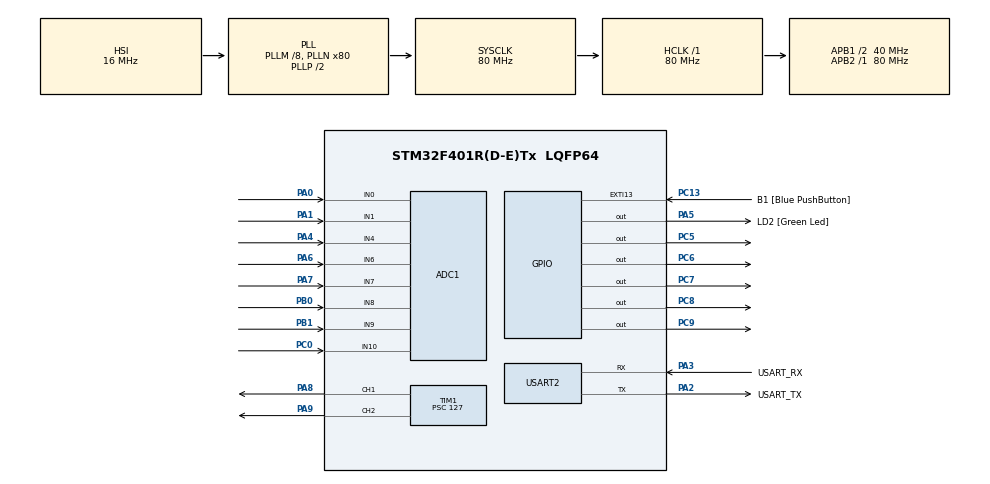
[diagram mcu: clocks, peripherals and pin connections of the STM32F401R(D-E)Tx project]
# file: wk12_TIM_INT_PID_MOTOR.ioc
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Mcu.Family=STM32F4
PA2.GPIO_PuPd=GPIO_NOPULL
RCC.CortexFreq_Value=80000000
ADC1.ContinuousConvMode=ENABLE
ADC1.SamplingTime-6\#ChannelRegularConversion=ADC_SAMPLETIME_3CYCLES
PA14.GPIO_Label=TCK
PA3.GPIO_PuPd=GPIO_NOPULL
PA2.GPIO_Speed=GPIO_SPEED_FREQ_LOW
PA3.GPIO_Speed=GPIO_SPEED_FREQ_LOW
RCC.SYSCLKSource=RCC_SYSCLKSOURCE_PLLCLK
ProjectManager.StackSize=0x400
TIM1.Prescaler=127
PH0\ -\ OSC_IN.Signal=RCC_OSC_IN
ADC1.Channel-5\#ChannelRegularConversion=ADC_CHANNEL_8
ADC1.Channel-3\#ChannelRegularConversion=ADC_CHANNEL_6
RCC.HCLKFreq_Value=80000000
RCC.APB2TimFreq_Value=80000000
Dma.ADC1.0.Direction=DMA_PERIPH_TO_MEMORY
ADC1.Channel-2\#ChannelRegularConversion=ADC_CHANNEL_4
PC7.Signal=GPIO_Output
NVIC.DMA2_Stream0_IRQn=true\:0\:0\:false\:false\:true\:false\:true
Dma.ADC1.0.MemDataAlignment=DMA_MDATAALIGN_HALFWORD
RCC.AHBFreq_Value=80000000
ADC1.Channel-0\#ChannelRegularConversion=ADC_CHANNEL_0
RCC.HSE_VALUE=8000000
ADC1.ScanConvMode=ENABLE
PC13-ANTI_TAMP.Signal=GPXTI13
ADC1.SamplingTime-4\#ChannelRegularConversion=ADC_SAMPLETIME_3CYCLES
ADC1.Channel-6\#ChannelRegularConversion=ADC_CHANNEL_9
ADC1.Rank-2\#ChannelRegularConversion=3
PC14-OSC32_IN.Mode=LSE-External-Oscillator
TIM1.Channel-PWM\ Generation1\ CH1=TIM_CHANNEL_1
PA14.Mode=Serial_Wire
PA5.GPIO_PuPd=GPIO_NOPULL
Dma.ADC1.0.PeriphInc=DMA_PINC_DISABLE
NVIC.TIM2_IRQn=true\:0\:0\:false\:false\:true\:true\:true
SH.ADCx_IN8.0=ADC1_IN8,IN8
PA8.Signal=S_TIM1_CH1
SH.ADCx_IN0.0=ADC1_IN0,IN0
ADC1.SamplingTime-0\#ChannelRegularConversion=ADC_SAMPLETIME_3CYCLES
Mcu.Package=LQFP64
TIM2.Prescaler=127
PB1.Signal=ADCx_IN9
PA6.Signal=ADCx_IN6
USART2.VirtualMode=VM_ASYNC
PA2.GPIO_Label=USART_TX
SH.ADCx_IN9.0=ADC1_IN9,IN9
SH.ADCx_IN1.0=ADC1_IN1,IN1
RCC.APB1TimFreq_Value=80000000
Dma.ADC1.0.FIFOMode=DMA_FIFOMODE_DISABLE
PC5.Signal=GPIO_Output
TIM1.Period=625
ADC1.Rank-6\#ChannelRegularConversion=7
Dma.Request0=ADC1
ADC1.Rank-4\#ChannelRegularConversion=5
PA3.Signal=USART2_RX
PA2.GPIO_Mode=GPIO_MODE_AF_PP
PB3.GPIO_Label=SWO
PC15-OSC32_OUT.Mode=LSE-External-Oscillator
Dma.ADC1.0.Instance=DMA2_Stream0
ADC1.Rank-0\#ChannelRegularConversion=1
ADC1.Channel-4\#ChannelRegularConversion=ADC_CHANNEL_7
PC13-ANTI_TAMP.GPIO_PuPd=GPIO_NOPULL
SH.ADCx_IN6.0=ADC1_IN6,IN6
PC13-ANTI_TAMP.GPIO_Label=B1 [Blue PushButton]
PH1\ -\ OSC_OUT.Mode=HSE-External-Clock-Source
PC8.Signal=GPIO_Output
PC6.Signal=GPIO_Output
PC0.Signal=ADCx_IN10
RCC.APB1CLKDivider=RCC_HCLK_DIV2
PC14-OSC32_IN.Signal=RCC_OSC32_IN
ADC1.SamplingTime-2\#ChannelRegularConversion=ADC_SAMPLETIME_3CYCLES
PA0-WKUP.Signal=ADCx_IN0
ADC1.Channel-7\#ChannelRegularConversion=ADC_CHANNEL_10
PA3.Mode=Asynchronous
PA13.Signal=SYS_JTMS-SWDIO
Dma.ADC1.0.PeriphDataAlignment=DMA_PDATAALIGN_HALFWORD
PH0\ -\ OSC_IN.Mode=HSE-External-Clock-Source
SH.S_TIM1_CH1.0=TIM1_CH1,PWM Generation1 CH1
ProjectManager.TargetToolchain=STM32CubeIDE
SH.ADCx_IN7.0=ADC1_IN7,IN7
Dma.ADC1.0.Mode=DMA_CIRCULAR
PA3.GPIO_Mode=GPIO_MODE_AF_PP
Dma.ADC1.0.Priority=DMA_PRIORITY_LOW
PA9.Signal=S_TIM1_CH2
ADC1.Channel-1\#ChannelRegularConversion=ADC_CHANNEL_1
TIM1.Channel-PWM\ Generation2\ CH2=TIM_CHANNEL_2
PC15-OSC32_OUT.Signal=RCC_OSC32_OUT
PA1.Signal=ADCx_IN1
PA5.Signal=GPIO_Output
PH1\ -\ OSC_OUT.Signal=RCC_OSC_OUT
board=NUCLEO-F401RE
RCC.VCOOutputFreq_Value=160000000
RCC.APB2Freq_Value=80000000
SH.S_TIM1_CH2.0=TIM1_CH2,PWM Generation2 CH2
VP_TIM2_VS_ClockSourceINT.Mode=Internal
SH.ADCx_IN4.0=ADC1_IN4,IN4
ADC1.DMAContinuousRequests=ENABLE
TIM2.Period=625
ADC1.NbrOfConversion=8
PA13.Mode=Serial_Wire
Mcu.Name=STM32F401R(D-E)Tx
PA2.Signal=USART2_TX
PA13.GPIO_Label=TMS
RCC.48MHZClocksFreq_Value=22857142.85714286
PB3.Signal=SYS_JTDO-SWO
PA4.Signal=ADCx_IN4
ADC1.SamplingTime-1\#ChannelRegularConversion=ADC_SAMPLETIME_3CYCLES
RCC.SYSCLKFreq_VALUE=80000000
ADC1.master=1
PA5.GPIO_Label=LD2 [Green Led]
ADC1.Rank-3\#ChannelRegularConversion=4
ADC1.SamplingTime-3\#ChannelRegularConversion=ADC_SAMPLETIME_3CYCLES
PC13-ANTI_TAMP.GPIO_ModeDefaultEXTI=GPIO_MODE_IT_FALLING
ADC1.Rank-1\#ChannelRegularConversion=2
PA14.Signal=SYS_JTCK-SWCLK
Dma.ADC1.0.MemInc=DMA_MINC_ENABLE
SH.ADCx_IN10.0=ADC1_IN10,IN10
ProjectManager.HeapSize=0x200
ADC1.SamplingTime-5\#ChannelRegularConversion=ADC_SAMPLETIME_3CYCLES
RCC.HSI_VALUE=16000000
ADC1.Rank-7\#ChannelRegularConversion=8
PA5.GPIO_Speed=GPIO_SPEED_FREQ_LOW
RCC.PLLQ=7
NVIC.PriorityGroup=NVIC_PRIORITYGROUP_0
ADC1.NbrOfConversionFlag=1
RCC.PLLM=8
RCC.PLLN=80
PA2.Mode=Asynchronous
PC9.Signal=GPIO_Output
ADC1.SamplingTime-7\#ChannelRegularConversion=ADC_SAMPLETIME_3CYCLES
RCC.APB1Freq_Value=40000000
PA5.GPIO_Mode=GPIO_MODE_OUTPUT_PP
PB0.Signal=ADCx_IN8
ADC1.Rank-5\#ChannelRegularConversion=6
PA3.GPIO_Label=USART_RX
PA7.Signal=ADCx_IN7

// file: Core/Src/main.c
/* USER CODE BEGIN Header */
/**
  ******************************************************************************
  * @file           : main.c
  * @brief          : Main program body
  ******************************************************************************
  * @attention
  *
  * <h2><center>&copy; Copyright (c) 2021 STMicroelectronics.
  * All rights reserved.</center></h2>
  *
  * This software component is licensed by ST under BSD 3-Clause license,
  * the "License"; You may not use this file except in compliance with the
  * License. You may obtain a copy of the License at:
  *                        opensource.org/licenses/BSD-3-Clause
  *
  ******************************************************************************
  */
/* USER CODE END Header */
#include "main.h"

/* USER CODE BEGIN Includes */
#include "stdio.h"
#include "string.h"
/* USER CODE END Includes */

/* USER CODE BEGIN PD */
#define ADC_BUF_LEN 16

/* USER CODE END PD */

ADC_HandleTypeDef hadc1;
DMA_HandleTypeDef hdma_adc1;

TIM_HandleTypeDef htim1;
TIM_HandleTypeDef htim2;

UART_HandleTypeDef huart2;

/* USER CODE BEGIN PV */
uint16_t adc_current[ADC_BUF_LEN];
uint32_t sensors_max[8],sensors_min[8];
float norm_ss[8],sum_norm_ss=0;
float position;
float setpoint = 0,error = 0,previouse_error = 0,integal = 0,derivative = 0;
float kp = 18, ki = 10, kd = 0;
float output=0;
int flag_start = 0;
/* USER CODE END PV */

void SystemClock_Config(void);
static void MX_GPIO_Init(void);
static void MX_DMA_Init(void);
static void MX_USART2_UART_Init(void);
static void MX_ADC1_Init(void);
static void MX_TIM1_Init(void);
static void MX_TIM2_Init(void);

/* USER CODE BEGIN 0 */
void sensor_init(){
    for(int i = 0 ; i<8 ; i++)
    {
  	  sensors_min[i]=4095;  // 12 bits
  	  sensors_max[i]=0;
    }
}
void setup_sensor(){
	while(HAL_GPIO_ReadPin(GPIOC, GPIO_PIN_13) == 0)
	{
		for(int i =0;i<8;i++)
		{
		  if(sensors_max[i]<adc_current[i])
		  {
		  	sensors_max[i] = adc_current[i];
		  }
		  if(sensors_min[i]>adc_current[i])
		  {
		  	sensors_min[i] = adc_current[i];
		  }
		}
		flag_start = 1;
	}
}
void normalize_sensor(){
	sum_norm_ss=0;
	for(int i =0;i<8;i++)
	{
		norm_ss[i] = 1-(((float)adc_current[i]-(float)sensors_min[i])/((float)sensors_max[i]-(float)sensors_min[i]));
		sum_norm_ss += norm_ss[i];
	}
}
void get_position(){
	position = ((float)(-50*norm_ss[0])+(float)(-35.72*norm_ss[1])+(float)(-21.44*norm_ss[2])+(float)(-7.16*norm_ss[3])+(float)(7.16*norm_ss[4])+(float)(21.4*norm_ss[5])+(float)(35.72*norm_ss[6])+(float)(50*norm_ss[7]))/(float)(sum_norm_ss);
}

void track_line(float _output)
{

	if(_output < 0)
	{
		int speedR = 0 ,speedL = 0;
		//turn left
		_output = - _output;
		speedR = 500+_output;
		if(speedR > 650){speedR = 650;}
		TIM1->CCR2 = speedR; // R
		HAL_GPIO_WritePin(GPIOC, GPIO_PIN_8, GPIO_PIN_SET);
		HAL_GPIO_WritePin(GPIOC, GPIO_PIN_9, GPIO_PIN_RESET);

		speedL = 500 - _output;
		if(speedL <= 0)
		{
			speedL = -speedL;
			TIM1->CCR1 = speedL;
			HAL_GPIO_WritePin(GPIOC, GPIO_PIN_6, GPIO_PIN_RESET);
			HAL_GPIO_WritePin(GPIOC, GPIO_PIN_7, GPIO_PIN_SET);
		}
		else
		{
			TIM1->CCR1 = speedL;
			HAL_GPIO_WritePin(GPIOC, GPIO_PIN_6, GPIO_PIN_SET);
			HAL_GPIO_WritePin(GPIOC, GPIO_PIN_7, GPIO_PIN_RESET);
		}
	}
	else
	{
		int speedR = 0 ,speedL = 0;
		//turn right
		speedL = 500+_output;
		if(speedL > 650){speedL = 650;}
		TIM1->CCR1 = speedL;
		HAL_GPIO_WritePin(GPIOC, GPIO_PIN_6, GPIO_PIN_SET);
		HAL_GPIO_WritePin(GPIOC, GPIO_PIN_7, GPIO_PIN_RESET);

		speedR = 500 - _output;
		if(speedR <= 0)
		{
		speedR = -speedR;
		TIM1->CCR2 = speedR;
		HAL_GPIO_WritePin(GPIOC, GPIO_PIN_8, GPIO_PIN_RESET);
		HAL_GPIO_WritePin(GPIOC, GPIO_PIN_9, GPIO_PIN_SET);
		}
		else
		{
		TIM1->CCR2 = speedR;
		HAL_GPIO_WritePin(GPIOC, GPIO_PIN_8, GPIO_PIN_SET);
		HAL_GPIO_WritePin(GPIOC, GPIO_PIN_9, GPIO_PIN_RESET);
		}
	}
}
/* USER CODE END 0 */

int main(void)
{
  /* USER CODE BEGIN 1 */
	unsigned char text2[100];
	uint32_t current_time,previous_time, interval = 100;
  /* USER CODE END 1 */

  /* MCU Configuration--------------------------------------------------------*/

  /* Reset of all peripherals, Initializes the Flash interface and the Systick. */
  HAL_Init();

  /* Configure the system clock */
  SystemClock_Config();

  /* Initialize all configured peripherals */
  MX_GPIO_Init();
  MX_DMA_Init();
  MX_USART2_UART_Init();
  MX_ADC1_Init();
  MX_TIM1_Init();
  MX_TIM2_Init();
  /* USER CODE BEGIN 2 */
  HAL_ADC_Start_DMA(&hadc1,(uint32_t*)adc_current, ADC_BUF_LEN);
  HAL_TIM_Base_Start_IT(&htim2);
  sensor_init();
  current_time = HAL_GetTick();
  previous_time = current_time;

  HAL_TIM_PWM_Start(&htim1, TIM_CHANNEL_1);
  HAL_TIM_PWM_Start(&htim1, TIM_CHANNEL_2);
  HAL_GPIO_WritePin(GPIOC, GPIO_PIN_5, GPIO_PIN_SET);

  /* USER CODE END 2 */

  /* Infinite loop */
  /* USER CODE BEGIN WHILE */
  while (1)
  {
	  current_time = HAL_GetTick();
	  setup_sensor();
	  normalize_sensor();
	  get_position();
	  if(output>=650){output =650;}
	  if(output<=-650){output =-650;}
	  if(flag_start == 1)
	  {
		  track_line(output);
	  }

//	  TIM1->CCR2 = 625;
//	  HAL_GPIO_WritePin(GPIOC, GPIO_PIN_8, GPIO_PIN_SET);
//	  HAL_GPIO_WritePin(GPIOC, GPIO_PIN_9, GPIO_PIN_RESET);
//
//	  TIM1->CCR1 = 625;
//	  HAL_GPIO_WritePin(GPIOC, GPIO_PIN_6, GPIO_PIN_SET);
//	  HAL_GPIO_WritePin(GPIOC, GPIO_PIN_7, GPIO_PIN_RESET);
//	  HAL_Delay(10);

	  if(current_time - previous_time >= interval)
	  {
		//sprintf(&text1,"%.02f \r\n",position);
	  	sprintf(&text2,"%.02f %.02f \r\n",output ,position);
	  	HAL_UART_Transmit(&huart2, text2,strlen(text2), 1000);
	  	previous_time = current_time;
	  }
    /* USER CODE END WHILE */

  }
}

void SystemClock_Config(void)
{
  RCC_OscInitTypeDef RCC_OscInitStruct = {0};
  RCC_ClkInitTypeDef RCC_ClkInitStruct = {0};

  /** Configure the main internal regulator output voltage
  */
  __HAL_RCC_PWR_CLK_ENABLE();
  __HAL_PWR_VOLTAGESCALING_CONFIG(PWR_REGULATOR_VOLTAGE_SCALE2);
  /** Initializes the RCC Oscillators according to the specified parameters
  * in the RCC_OscInitTypeDef structure.
  */
  RCC_OscInitStruct.OscillatorType = RCC_OSCILLATORTYPE_HSI;
  RCC_OscInitStruct.HSIState = RCC_HSI_ON;
  RCC_OscInitStruct.HSICalibrationValue = RCC_HSICALIBRATION_DEFAULT;
  RCC_OscInitStruct.PLL.PLLState = RCC_PLL_ON;
  RCC_OscInitStruct.PLL.PLLSource = RCC_PLLSOURCE_HSI;
  RCC_OscInitStruct.PLL.PLLM = 8;
  RCC_OscInitStruct.PLL.PLLN = 80;
  RCC_OscInitStruct.PLL.PLLP = RCC_PLLP_DIV2;
  RCC_OscInitStruct.PLL.PLLQ = 7;
  if (HAL_RCC_OscConfig(&RCC_OscInitStruct) != HAL_OK)
  {
    Error_Handler();
  }
  /** Initializes the CPU, AHB and APB buses clocks
  */
  RCC_ClkInitStruct.ClockType = RCC_CLOCKTYPE_HCLK|RCC_CLOCKTYPE_SYSCLK
                              |RCC_CLOCKTYPE_PCLK1|RCC_CLOCKTYPE_PCLK2;
  RCC_ClkInitStruct.SYSCLKSource = RCC_SYSCLKSOURCE_PLLCLK;
  RCC_ClkInitStruct.AHBCLKDivider = RCC_SYSCLK_DIV1;
  RCC_ClkInitStruct.APB1CLKDivider = RCC_HCLK_DIV2;
  RCC_ClkInitStruct.APB2CLKDivider = RCC_HCLK_DIV1;

  if (HAL_RCC_ClockConfig(&RCC_ClkInitStruct, FLASH_LATENCY_2) != HAL_OK)
  {
    Error_Handler();
  }
}

static void MX_ADC1_Init(void)
{

  ADC_ChannelConfTypeDef sConfig = {0};

  /** Configure the global features of the ADC (Clock, Resolution, Data Alignment and number of conversion)
  */
  hadc1.Instance = ADC1;
  hadc1.Init.ClockPrescaler = ADC_CLOCK_SYNC_PCLK_DIV4;
  hadc1.Init.Resolution = ADC_RESOLUTION_12B;
  hadc1.Init.ScanConvMode = ENABLE;
  hadc1.Init.ContinuousConvMode = ENABLE;
  hadc1.Init.DiscontinuousConvMode = DISABLE;
  hadc1.Init.ExternalTrigConvEdge = ADC_EXTERNALTRIGCONVEDGE_NONE;
  hadc1.Init.ExternalTrigConv = ADC_SOFTWARE_START;
  hadc1.Init.DataAlign = ADC_DATAALIGN_RIGHT;
  hadc1.Init.NbrOfConversion = 8;
  hadc1.Init.DMAContinuousRequests = ENABLE;
  hadc1.Init.EOCSelection = ADC_EOC_SINGLE_CONV;
  if (HAL_ADC_Init(&hadc1) != HAL_OK)
  {
    Error_Handler();
  }
  /** Configure for the selected ADC regular channel its corresponding rank in the sequencer and its sample time.
  */
  sConfig.Channel = ADC_CHANNEL_0;
  sConfig.Rank = 1;
  sConfig.SamplingTime = ADC_SAMPLETIME_3CYCLES;
  if (HAL_ADC_ConfigChannel(&hadc1, &sConfig) != HAL_OK)
  {
    Error_Handler();
  }
  /** Configure for the selected ADC regular channel its corresponding rank in the sequencer and its sample time.
  */
  sConfig.Channel = ADC_CHANNEL_1;
  sConfig.Rank = 2;
  if (HAL_ADC_ConfigChannel(&hadc1, &sConfig) != HAL_OK)
  {
    Error_Handler();
  }
  /** Configure for the selected ADC regular channel its corresponding rank in the sequencer and its sample time.
  */
  sConfig.Channel = ADC_CHANNEL_4;
  sConfig.Rank = 3;
  if (HAL_ADC_ConfigChannel(&hadc1, &sConfig) != HAL_OK)
  {
    Error_Handler();
  }
  /** Configure for the selected ADC regular channel its corresponding rank in the sequencer and its sample time.
  */
  sConfig.Channel = ADC_CHANNEL_6;
  sConfig.Rank = 4;
  if (HAL_ADC_ConfigChannel(&hadc1, &sConfig) != HAL_OK)
  {
    Error_Handler();
  }
  /** Configure for the selected ADC regular channel its corresponding rank in the sequencer and its sample time.
  */
  sConfig.Channel = ADC_CHANNEL_7;
  sConfig.Rank = 5;
  if (HAL_ADC_ConfigChannel(&hadc1, &sConfig) != HAL_OK)
  {
    Error_Handler();
  }
  /** Configure for the selected ADC regular channel its corresponding rank in the sequencer and its sample time.
  */
  sConfig.Channel = ADC_CHANNEL_8;
  sConfig.Rank = 6;
  if (HAL_ADC_ConfigChannel(&hadc1, &sConfig) != HAL_OK)
  {
    Error_Handler();
  }
  /** Configure for the selected ADC regular channel its corresponding rank in the sequencer and its sample time.
  */
  sConfig.Channel = ADC_CHANNEL_9;
  sConfig.Rank = 7;
  if (HAL_ADC_ConfigChannel(&hadc1, &sConfig) != HAL_OK)
  {
    Error_Handler();
  }
  /** Configure for the selected ADC regular channel its corresponding rank in the sequencer and its sample time.
  */
  sConfig.Channel = ADC_CHANNEL_10;
  sConfig.Rank = 8;
  if (HAL_ADC_ConfigChannel(&hadc1, &sConfig) != HAL_OK)
  {
    Error_Handler();
  }

}

static void MX_TIM1_Init(void)
{

  TIM_MasterConfigTypeDef sMasterConfig = {0};
  TIM_OC_InitTypeDef sConfigOC = {0};
  TIM_BreakDeadTimeConfigTypeDef sBreakDeadTimeConfig = {0};

  htim1.Instance = TIM1;
  htim1.Init.Prescaler = 127;
  htim1.Init.CounterMode = TIM_COUNTERMODE_UP;
  htim1.Init.Period = 625;
  htim1.Init.ClockDivision = TIM_CLOCKDIVISION_DIV1;
  htim1.Init.RepetitionCounter = 0;
  htim1.Init.AutoReloadPreload = TIM_AUTORELOAD_PRELOAD_DISABLE;
  if (HAL_TIM_PWM_Init(&htim1) != HAL_OK)
  {
    Error_Handler();
  }
  sMasterConfig.MasterOutputTrigger = TIM_TRGO_RESET;
  sMasterConfig.MasterSlaveMode = TIM_MASTERSLAVEMODE_DISABLE;
  if (HAL_TIMEx_MasterConfigSynchronization(&htim1, &sMasterConfig) != HAL_OK)
  {
    Error_Handler();
  }
  sConfigOC.OCMode = TIM_OCMODE_PWM1;
  sConfigOC.Pulse = 0;
  sConfigOC.OCPolarity = TIM_OCPOLARITY_HIGH;
  sConfigOC.OCNPolarity = TIM_OCNPOLARITY_HIGH;
  sConfigOC.OCFastMode = TIM_OCFAST_DISABLE;
  sConfigOC.OCIdleState = TIM_OCIDLESTATE_RESET;
  sConfigOC.OCNIdleState = TIM_OCNIDLESTATE_RESET;
  if (HAL_TIM_PWM_ConfigChannel(&htim1, &sConfigOC, TIM_CHANNEL_1) != HAL_OK)
  {
    Error_Handler();
  }
  if (HAL_TIM_PWM_ConfigChannel(&htim1, &sConfigOC, TIM_CHANNEL_2) != HAL_OK)
  {
    Error_Handler();
  }
  sBreakDeadTimeConfig.OffStateRunMode = TIM_OSSR_DISABLE;
  sBreakDeadTimeConfig.OffStateIDLEMode = TIM_OSSI_DISABLE;
  sBreakDeadTimeConfig.LockLevel = TIM_LOCKLEVEL_OFF;
  sBreakDeadTimeConfig.DeadTime = 0;
  sBreakDeadTimeConfig.BreakState = TIM_BREAK_DISABLE;
  sBreakDeadTimeConfig.BreakPolarity = TIM_BREAKPOLARITY_HIGH;
  sBreakDeadTimeConfig.AutomaticOutput = TIM_AUTOMATICOUTPUT_DISABLE;
  if (HAL_TIMEx_ConfigBreakDeadTime(&htim1, &sBreakDeadTimeConfig) != HAL_OK)
  {
    Error_Handler();
  }
  HAL_TIM_MspPostInit(&htim1);

}

static void MX_TIM2_Init(void)
{

  TIM_ClockConfigTypeDef sClockSourceConfig = {0};
  TIM_MasterConfigTypeDef sMasterConfig = {0};

  htim2.Instance = TIM2;
  htim2.Init.Prescaler = 127;
  htim2.Init.CounterMode = TIM_COUNTERMODE_UP;
  htim2.Init.Period = 625;
  htim2.Init.ClockDivision = TIM_CLOCKDIVISION_DIV1;
  htim2.Init.AutoReloadPreload = TIM_AUTORELOAD_PRELOAD_DISABLE;
  if (HAL_TIM_Base_Init(&htim2) != HAL_OK)
  {
    Error_Handler();
  }
  sClockSourceConfig.ClockSource = TIM_CLOCKSOURCE_INTERNAL;
  if (HAL_TIM_ConfigClockSource(&htim2, &sClockSourceConfig) != HAL_OK)
  {
    Error_Handler();
  }
  sMasterConfig.MasterOutputTrigger = TIM_TRGO_RESET;
  sMasterConfig.MasterSlaveMode = TIM_MASTERSLAVEMODE_DISABLE;
  if (HAL_TIMEx_MasterConfigSynchronization(&htim2, &sMasterConfig) != HAL_OK)
  {
    Error_Handler();
  }

}

static void MX_USART2_UART_Init(void)
{

  huart2.Instance = USART2;
  huart2.Init.BaudRate = 115200;
  huart2.Init.WordLength = UART_WORDLENGTH_8B;
  huart2.Init.StopBits = UART_STOPBITS_1;
  huart2.Init.Parity = UART_PARITY_NONE;
  huart2.Init.Mode = UART_MODE_TX_RX;
  huart2.Init.HwFlowCtl = UART_HWCONTROL_NONE;
  huart2.Init.OverSampling = UART_OVERSAMPLING_16;
  if (HAL_UART_Init(&huart2) != HAL_OK)
  {
    Error_Handler();
  }

}

static void MX_DMA_Init(void)
{

  /* DMA controller clock enable */
  __HAL_RCC_DMA2_CLK_ENABLE();

  /* DMA interrupt init */
  /* DMA2_Stream0_IRQn interrupt configuration */
  HAL_NVIC_SetPriority(DMA2_Stream0_IRQn, 0, 0);
  HAL_NVIC_EnableIRQ(DMA2_Stream0_IRQn);

}

static void MX_GPIO_Init(void)
{
  GPIO_InitTypeDef GPIO_InitStruct = {0};

  /* GPIO Ports Clock Enable */
  __HAL_RCC_GPIOC_CLK_ENABLE();
  __HAL_RCC_GPIOH_CLK_ENABLE();
  __HAL_RCC_GPIOA_CLK_ENABLE();
  __HAL_RCC_GPIOB_CLK_ENABLE();

  /*Configure GPIO pin Output Level */
  HAL_GPIO_WritePin(LD2_GPIO_Port, LD2_Pin, GPIO_PIN_RESET);

  /*Configure GPIO pin Output Level */
  HAL_GPIO_WritePin(GPIOC, GPIO_PIN_5|GPIO_PIN_6|GPIO_PIN_7|GPIO_PIN_8
                          |GPIO_PIN_9, GPIO_PIN_RESET);

  /*Configure GPIO pin : B1_Pin */
  GPIO_InitStruct.Pin = B1_Pin;
  GPIO_InitStruct.Mode = GPIO_MODE_IT_FALLING;
  GPIO_InitStruct.Pull = GPIO_NOPULL;
  HAL_GPIO_Init(B1_GPIO_Port, &GPIO_InitStruct);

  /*Configure GPIO pin : LD2_Pin */
  GPIO_InitStruct.Pin = LD2_Pin;
  GPIO_InitStruct.Mode = GPIO_MODE_OUTPUT_PP;
  GPIO_InitStruct.Pull = GPIO_NOPULL;
  GPIO_InitStruct.Speed = GPIO_SPEED_FREQ_LOW;
  HAL_GPIO_Init(LD2_GPIO_Port, &GPIO_InitStruct);

  /*Configure GPIO pins : PC5 PC6 PC7 PC8
                           PC9 */
  GPIO_InitStruct.Pin = GPIO_PIN_5|GPIO_PIN_6|GPIO_PIN_7|GPIO_PIN_8
                          |GPIO_PIN_9;
  GPIO_InitStruct.Mode = GPIO_MODE_OUTPUT_PP;
  GPIO_InitStruct.Pull = GPIO_NOPULL;
  GPIO_InitStruct.Speed = GPIO_SPEED_FREQ_LOW;
  HAL_GPIO_Init(GPIOC, &GPIO_InitStruct);

}

/* USER CODE BEGIN 4 */
void HAL_TIM_PeriodElapsedCallback(TIM_HandleTypeDef *htim)
{
	HAL_GPIO_TogglePin(GPIOA, GPIO_PIN_5);
	if(flag_start == 1)
	{
		error = position - setpoint;
		integal += error * 0.001; //interupt every 1/1000 seccond because set equal to 1kHz
		if(integal>=150){integal=150;}
		output = (kp*error) + (ki*integal);
	}
}
/* USER CODE END 4 */

void Error_Handler(void)
{
  __disable_irq();
  while (1)
  {
  }
}

/************************ (C) COPYRIGHT STMicroelectronics *****END OF FILE****/
